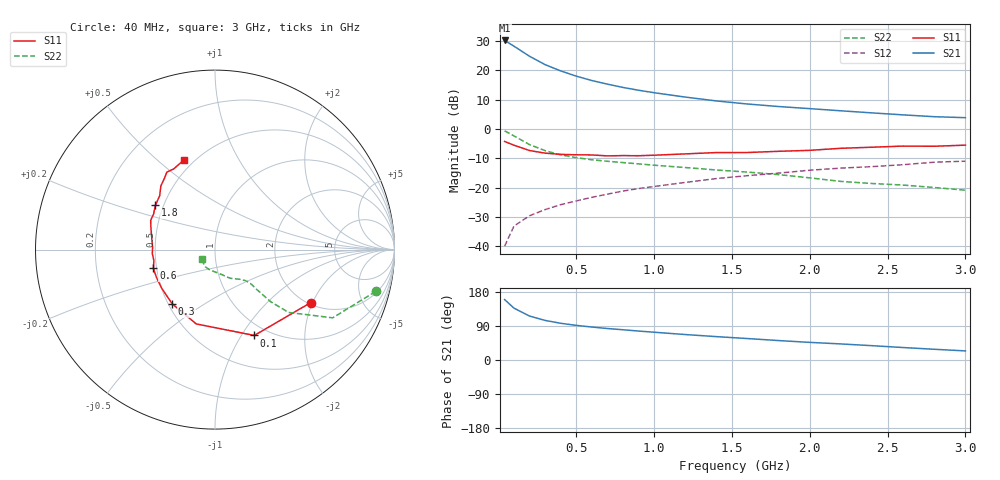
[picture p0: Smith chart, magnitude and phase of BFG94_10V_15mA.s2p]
! Filename:  BFG94A.S2P  Version:  2.0
! Philips part #: BFG 94  Date: May 1990
! Bias condition: Vce=10V, Ic=15mA
#  MHz  S  MA  R  50
! Freq  S11  S21  S12  S22  !GUM [dB]
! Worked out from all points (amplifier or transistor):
!   21 points, 40 MHz to 3 GHz, reference 50 ohm
!   highest |S21| = 30.1 dB at 40 MHz (marker M1)
!   |S21| within 3 dB of that: start of sweep to 130.6 MHz
!   unconditionally stable (mu >= 1): 607.8 MHz to end of sweep
!   at 300 MHz: K = 0.78, MSG = 24.7 dB, |S12| = -27.5 dB
!   at 1 GHz: K = 1.09, MAG = 14.2 dB, |S12| = -19.7 dB
!   at 3 GHz: K = 1.05, MAG = 6.0 dB, |S12| = -11.0 dB
!   lowest NFmin = 1.80 dB at 500 MHz
!   S11 on the Smith chart (normalised r, x): 40 MHz: 2.05, -1.93; 100 MHz: 0.86, -1.14; 300 MHz: 0.52, -0.37; 600 MHz: 0.48, -0.11; 1.8 GHz: 0.45, +0.27; 3 GHz: 0.44, +0.61
40  0.609 -29.1  32.1 159.5  0.01 76.7  0.925 -14.6
100  0.526 -65.4  25.66 136.9  0.022 65.5  0.758 -30.1
200  0.427 -104.2  17.25 115.9  0.033 59.5  0.539 -40.5
300  0.385 -128.2  12.43 104.5  0.042 60.7  0.425 -43.1
400  0.367 -143.8  9.72 96.9  0.051 62.2  0.36 -43.4
500  0.361 -154.5  7.91 91.4  0.059 63.6  0.323 -43.7
600  0.359 -163.1  6.66 87.0  0.068 64.7  0.297 -43.6
700  0.346 -169.8  5.78 83.1  0.077 65.6  0.28 -43.5
800  0.35 -176.3  5.08 79.8  0.087 65.6  0.266 -44.1
900  0.348 177.6  4.55 76.4  0.096 66.0  0.253 -44.7
1000  0.355 171.6  4.13 73.3  0.104 65.5  0.24 -45.8
1200  0.374 162.4  3.48 67.2  0.122 65.6  0.219 -49.3
1400  0.394 155.5  2.99 61.7  0.142 64.2  0.199 -54.9
1600  0.395 150.1  2.65 56.6  0.159 63.0  0.183 -61.1
1800  0.414 143.3  2.4 51.3  0.176 61.8  0.166 -66.8
2000  0.43 135.8  2.21 46.5  0.197 60.2  0.146 -73.9
2200  0.466 130.3  2.03 42.4  0.214 57.4  0.127 -86.9
2400  0.486 125.5  1.87 37.8  0.227 56.1  0.117 -104.2
2600  0.508 121.9  1.73 32.9  0.245 55.0  0.11 -119.0
2800  0.505 117.2  1.61 28.3  0.27 52.5  0.1 -129.7
3000  0.527 109.4  1.55 24.0  0.281 47.7  0.09 -144.9
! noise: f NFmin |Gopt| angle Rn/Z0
500  1.8  0.112  98.1  0.211
1000  2.25  0.203  152.1  0.21
